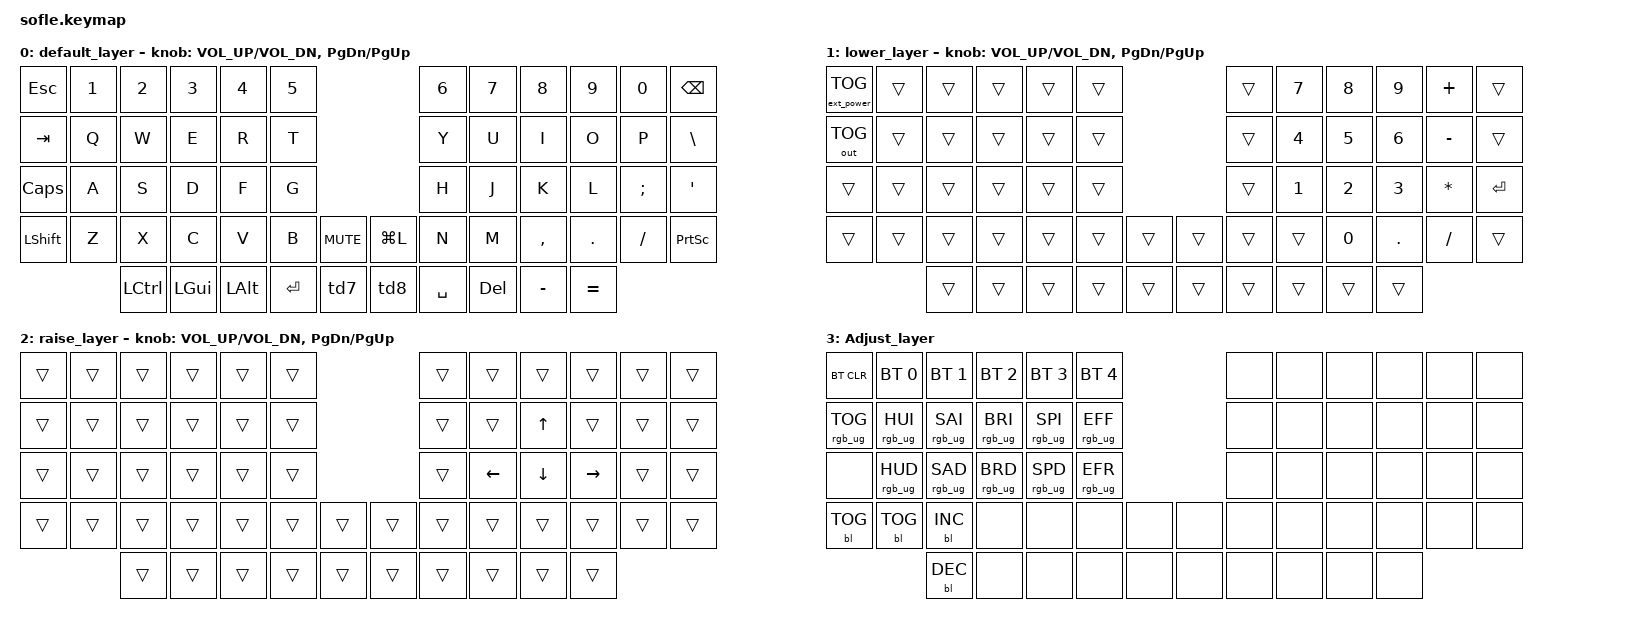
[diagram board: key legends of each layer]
/*
 * Copyright (c) 2020 The ZMK Contributors
 *
 * SPDX-License-Identifier: MIT
 */

#include <behaviors.dtsi>
#include <dt-bindings/zmk/bt.h>
#include <dt-bindings/zmk/rgb.h>
#include <dt-bindings/zmk/keys.h>
#include <dt-bindings/zmk/outputs.h>
#include <dt-bindings/zmk/ext_power.h>
#include <dt-bindings/zmk/backlight.h>

// Define Layer
#define BASE 0
#define LOWER 1
#define RAISE 2
#define ADJUST 3


/ {
	// Activate ADJUST layer by pressing raise and lower
		conditional_layers {
			compatible = "zmk,conditional-layers";
			adjust_layer {
				if-layers = <LOWER RAISE>;
				then-layer = <ADJUST>;
			};
		};
	
	//Double tap low layer to lock
		behaviors {
			td7: Lower_layer {
				compatible = "zmk,behavior-tap-dance";
				label = "LOWER_layer";
				#binding-cells = <0>;
				tapping-term-ms = <400>;
				bindings = <&mo LOWER>, <&tog LOWER>;
			};
		};
		
		
	//Double tap raise layer to lock
		behaviors {
			td8: Raise_layer {
				compatible = "zmk,behavior-tap-dance";
				label = "RAISE_layer";
				#binding-cells = <0>;
				tapping-term-ms = <400>;
				bindings = <&mo RAISE>, <&tog RAISE>;
			};
		};	
	
    keymap {
        compatible = "zmk,keymap";

        default_layer {
// ------------------------------------------------------------------------------------------------------------
// |  ESC  |  1  |  2  |  3   |  4   |  5  |                      |  6   |  7  |  8  |  9  |  0  | BKSPC |
// |  TAB  |  Q  |  W  |  E   |  R   |  T  |                      |  Y   |  U  |  I  |  O  |  P  |   \   |
// |  CAPS |  A  |  S  |  D   |  F   |  G  |                      |  H   |  J  |  K  |  L  |  ;  |   '   |
// | SHIFT |  Z  |  X  |  C   |  V   |  B  | MUTE |       |WinLock|  N   |  M  |  ,  |  .  |  /  | PRINT |
//               |CTRL |  WIN |  ALT |Enter| LOWER|       | RAISE | SPACE| DEL |  -  |  +  |
            bindings = <
			
&kp ESC   &kp N1   &kp N2      &kp N3      &kp N4       &kp N5                                &kp N6      &kp N7     &kp N8      &kp N9     &kp N0      &kp BSPC
&kp TAB   &kp Q    &kp W       &kp E       &kp R        &kp T                                 &kp Y       &kp U      &kp I       &kp O      &kp P       &kp BSLH
&kp CAPS  &kp A    &kp S       &kp D       &kp F        &kp G                                 &kp H       &kp J      &kp K       &kp L      &kp SEMI    &kp SQT
&kp LSHFT &kp Z    &kp X       &kp C       &kp V        &kp B      &kp C_MUTE      &kp LG(L)  &kp N       &kp M      &kp COMMA   &kp DOT    &kp FSLH    &kp PSCRN
				   &kp LCTRL   &kp LGUI    &kp LALT  	&kp ENTER  &td7            &td8       &kp SPACE   &kp DEL    &kp MINUS   &kp EQUAL
            >;

            sensor-bindings = <&inc_dec_kp C_VOL_UP C_VOL_DN &inc_dec_kp PG_DN PG_UP>;
        };

        lower_layer {
// TODO: Some binds are waiting for shifted keycode support.
// ------------------------------------------------------------------------------------------------------------
// |ON/OFF|   |   |   |   |   |                    |   | 7 | 8 | 9 | + |     |
// |USB/BT|   |   |   |   |   |                    |   | 4 | 5 | 6 | - |     |
// |      |   |   |   |   |   |                    |   | 1 | 2 | 3 | * |ENTER|
// |      |   |   |   |   |   |   |        |   |   |   | 0 | . | / |     |
//            |   |   |   |   |   |        |   |   |   |   |   |
            bindings = <
&ext_power EP_TOG  &trans  &trans  &trans   &trans   &trans                                     &trans   &kp N7  &kp N8   &kp N9    &kp PLUS    &trans
&out OUT_TOG       &trans  &trans  &trans   &trans   &trans                                     &trans   &kp N4  &kp N5   &kp N6    &kp MINUS   &trans
&trans             &trans  &trans  &trans   &trans   &trans                 	                &trans   &kp N1  &kp N2   &kp N3    &kp ASTRK   &kp ENTER
&trans             &trans  &trans  &trans   &trans   &trans   &trans         &trans   &trans    &trans   &kp N0  &kp DOT  &kp SLASH &trans
                           &trans  &trans   &trans   &trans   &trans         &trans   &trans    &trans   &trans  &trans
            >;

            sensor-bindings = <&inc_dec_kp C_VOL_UP C_VOL_DN &inc_dec_kp PG_DN PG_UP>;
        };

        raise_layer {
// ------------------------------------------------------------------------------------------------------------
// |   |   |   |   |   |   |                   |    |    |      |     |    |    |
// |   |   |   |   |   |   |                   |    |    |  up  |     |    |    |
// |   |   |   |   |   |   |                   |    |left| down |right|    |    |
// |   |   |   |   |   |   |    | 		 |     |    |    |      |     |    |    |
//         |   |   |   |   |    | 		 |     |    |    |      |     |
            bindings = <
&trans  &trans  &trans  &trans   &trans   &trans                       &trans    &trans   &trans    &trans     &trans   &trans
&trans  &trans  &trans  &trans   &trans   &trans                       &trans    &trans   &kp UP    &trans     &trans   &trans
&trans  &trans  &trans  &trans   &trans   &trans                   	   &trans    &kp LEFT &kp DOWN  &kp RIGHT  &trans   &trans
&trans  &trans 	&trans 	&trans 	 &trans   &trans  &trans       &trans  &trans    &trans   &trans    &trans     &trans   &trans
                &trans  &trans   &trans   &trans  &trans       &trans  &trans    &trans   &trans    &trans
            >;

            sensor-bindings = <&inc_dec_kp C_VOL_UP C_VOL_DN &inc_dec_kp PG_DN PG_UP>;
        };

// ------------------------------------------------------------------------------------------------------------
// |BTCLR  | BT1    | BT2   |  BT3  |  BT4  |  BT5  |                        |   |   |   |   |   |   |
// |RGB_TOG|RGB_HUI |RGB_SAI|RGB_BRI|RGB_SPI|RGB_EFF|                        |   |   |   |   |   |   |
// |       |RGB_HUD |RGB_SAD|RGB_BRD|RGB_SPD|RGB_EFR|                        |   |   |   |   |   |   |
// |BL_TOG |BL_CYCLE| BL_INC|       |       |       |       |         |      |   |   |   |   |   |   |
//                  | BL_DEC|       |       |       |       |         |      |   |   |   |   |

        Adjust_layer {
        bindings = <
&bt BT_CLR          &bt BT_SEL 0    &bt BT_SEL 1    &bt BT_SEL 2     &bt BT_SEL 3     &bt BT_SEL 4                                    &none &none &none &none &none &none
&rgb_ug RGB_TOG 	&rgb_ug RGB_HUI &rgb_ug RGB_SAI &rgb_ug RGB_BRI  &rgb_ug RGB_SPI  &rgb_ug RGB_EFF 								  &none &none &none &none &none &none
&none               &rgb_ug RGB_HUD &rgb_ug RGB_SAD &rgb_ug RGB_BRD  &rgb_ug RGB_SPD  &rgb_ug RGB_EFR                                 &none &none &none &none &none &none
&bl BL_TOG          &bl BL_TOG      &bl BL_INC      &none            &none            &none               &none              &none    &none &none &none &none &none &none
                                    &bl BL_DEC      &none            &none            &none               &none              &none    &none &none &none &none
        >;
        };

    };
};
